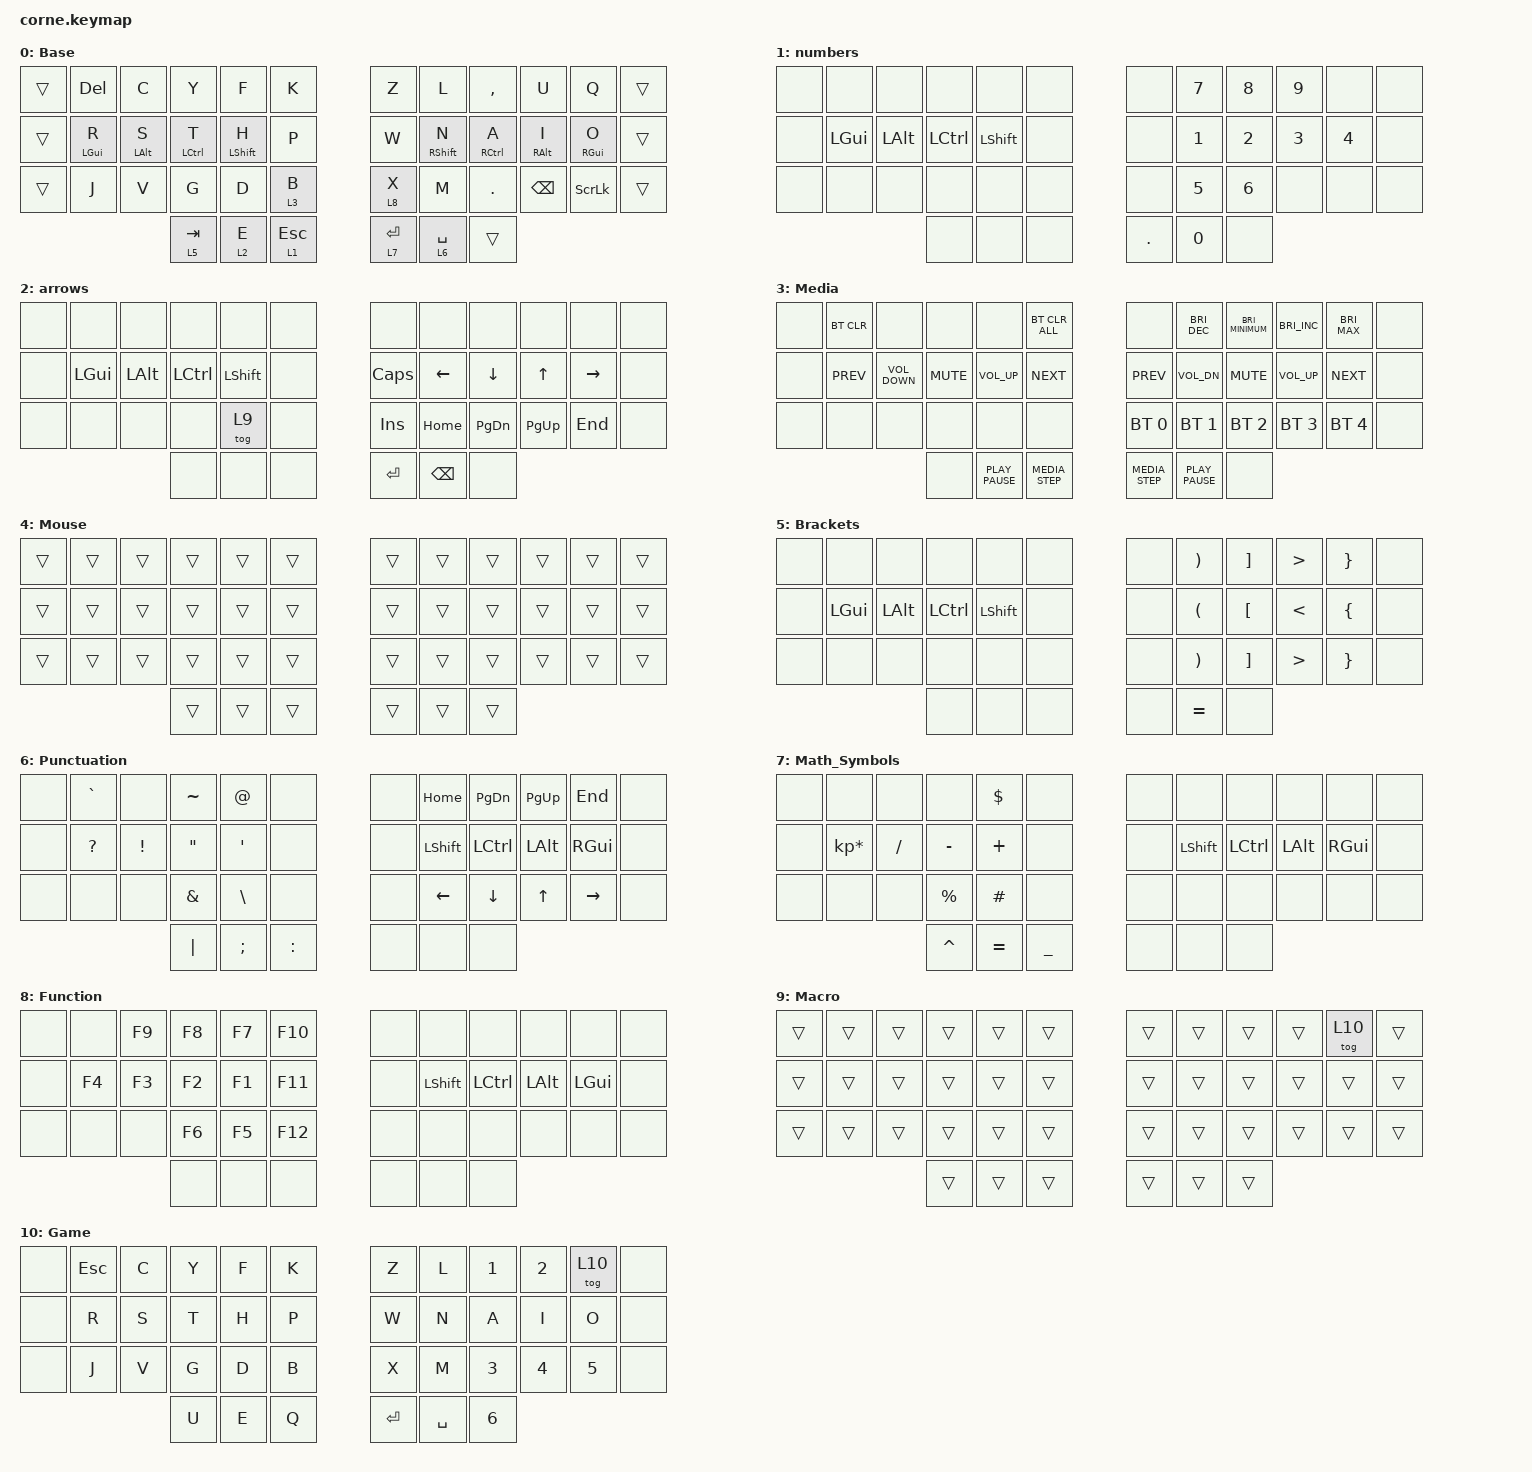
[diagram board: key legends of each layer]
/*
 * Copyright (c) 2020 The ZMK Contributors
 *
 * SPDX-License-Identifier: MIT
 */

#include <behaviors.dtsi>
#include <dt-bindings/zmk/bt.h>
#include <dt-bindings/zmk/keys.h>

/ {
    behaviors {
        left_hold: left_hold {
            compatible = "zmk,behavior-hold-tap";
            label = "LEFT_HOLD";
            bindings = <&kp>, <&kp>;

            #binding-cells = <2>;
            hold-trigger-key-positions = <6 7 8 9 10 11 18 19 20 21 22 23 30 31 32 33 34 35 39 40 41>;
            flavor = "balanced";
            tapping-term-ms = <280>;
            hold-trigger-on-release;
            require-prior-idle-ms = <150>;
            quick-tap-ms = <175>;
        };

        right_hold: right_hold {
            compatible = "zmk,behavior-hold-tap";
            label = "RIGHT_HOLD";
            bindings = <&kp>, <&kp>;

            #binding-cells = <2>;
            flavor = "balanced";
            tapping-term-ms = <280>;
            hold-trigger-on-release;
            hold-trigger-key-positions = <0 1 2 3 4 5 12 13 14 15 16 17 24 25 26 27 28 29 36 37 38>;
            quick-tap-ms = <175>;
            require-prior-idle-ms = <150>;
        };
    };

    keymap {
        compatible = "zmk,keymap";

        Base {
            // -----------------------------------------------------------------------------------------
            // |  TAB |  Q  |  W  |  E  |  R  |  T  |   |  Y  |  U   |  I  |  O  |  P  | BKSP |
            // | CTRL |  A  |  S  |  D  |  F  |  G  |   |  H  |  J   |  K  |  L  |  ;  |  '   |
            // | SHFT |  Z  |  X  |  C  |  V  |  B  |   |  N  |  M   |  ,  |  .  |  /  | ESC  |
            //                    | GUI | LWR | SPC |   | ENT | RSE  | ALT |

            label = "Base";
            bindings = <
&trans  &kp DEL                &kp C                  &kp Y               &kp F               &kp K           &kp Z        &kp L                &kp COMMA            &kp U                    &kp Q                    &trans
&trans  &left_hold LEFT_GUI R  &left_hold LEFT_ALT S  &left_hold LCTRL T  &left_hold LSHFT H  &kp P           &kp W        &right_hold RSHFT N  &right_hold RCTRL A  &right_hold RIGHT_ALT I  &right_hold RIGHT_GUI O  &trans
&trans  &kp J                  &kp V                  &kp G               &kp D               &lt 3 B         &lt 8 X      &kp M                &kp PERIOD           &kp BACKSPACE            &kp SCROLLLOCK           &trans
                                                      &lt 5 TAB           &lt 2 E             &lt 1 ESCAPE    &lt 7 ENTER  &lt 6 SPACE          &trans
            >;
        };

        Numbers {
            // -----------------------------------------------------------------------------------------
            // |  TAB |  1  |  2  |  3  |  4  |  5  |   |  6  |  7  |  8  |  9  |  0  | BKSP |
            // | BTCLR| BT1 | BT2 | BT3 | BT4 | BT5 |   | LFT | DWN |  UP | RGT |     |      |
            // | SHFT |     |     |     |     |     |   |     |     |     |     |     |      |
            //                    | GUI |     | SPC |   | ENT |     | ALT |

            label = "numbers";
            bindings = <
&none  &none         &none         &none      &none      &none    &none    &kp N7  &kp N8  &kp N9  &none   &none
&none  &kp LEFT_GUI  &kp LEFT_ALT  &kp LCTRL  &kp LSHFT  &none    &none    &kp N1  &kp N2  &kp N3  &kp N4  &none
&none  &none         &none         &none      &none      &none    &none    &kp N5  &kp N6  &none   &none   &none
                                   &none      &none      &none    &kp DOT  &kp N0  &none
            >;
        };

        Arrows {
            label = "arrows";
            bindings = <
&none  &none         &none         &none      &none      &none    &none      &none          &none          &none         &none      &none
&none  &kp LEFT_GUI  &kp LEFT_ALT  &kp LCTRL  &kp LSHFT  &none    &kp CAPS   &kp LEFT       &kp DOWN       &kp UP_ARROW  &kp RIGHT  &none
&none  &none         &none         &none      &tog 9     &none    &kp INS    &kp HOME       &kp PAGE_DOWN  &kp PG_UP     &kp END    &none
                                   &none      &none      &none    &kp ENTER  &kp BACKSPACE  &none
            >;
        };

        Media {
            bindings = <
&none  &bt BT_CLR  &none              &none       &none             &bt BT_CLR_ALL      &none             &kp C_BRIGHTNESS_DEC  &kp C_BRIGHTNESS_MINIMUM  &kp C_BRIGHTNESS_INC  &kp C_BRI_MAX  &none
&none  &kp K_PREV  &kp K_VOLUME_DOWN  &kp K_MUTE  &kp K_VOL_UP      &kp K_NEXT          &kp K_PREV        &kp K_VOL_DN          &kp K_MUTE                &kp K_VOL_UP          &kp K_NEXT     &none
&none  &none       &none              &none       &none             &none               &bt BT_SEL 0      &bt BT_SEL 1          &bt BT_SEL 2              &bt BT_SEL 3          &bt BT_SEL 4   &none
                                      &none       &kp K_PLAY_PAUSE  &kp C_MEDIA_STEP    &kp C_MEDIA_STEP  &kp K_PLAY_PAUSE      &none
            >;
        };

        Mouse {
            bindings = <
&trans  &trans  &trans  &trans  &trans  &trans    &trans  &trans  &trans  &trans  &trans  &trans
&trans  &trans  &trans  &trans  &trans  &trans    &trans  &trans  &trans  &trans  &trans  &trans
&trans  &trans  &trans  &trans  &trans  &trans    &trans  &trans  &trans  &trans  &trans  &trans
                        &trans  &trans  &trans    &trans  &trans  &trans
            >;
        };

        Brackets {
            bindings = <
&none  &none     &none     &none      &none      &none    &none  &kp RIGHT_PARENTHESIS  &kp RBKT  &kp GREATER_THAN  &kp RIGHT_BRACE  &none
&none  &kp LGUI  &kp LALT  &kp LCTRL  &kp LSHFT  &none    &none  &kp LEFT_PARENTHESIS   &kp LBKT  &kp LESS_THAN     &kp LEFT_BRACE   &none
&none  &none     &none     &none      &none      &none    &none  &kp RIGHT_PARENTHESIS  &kp RBKT  &kp GREATER_THAN  &kp RIGHT_BRACE  &none
                           &none      &none      &none    &none  &kp EQUAL              &none
            >;
        };

        Punctuation {
            bindings = <
&none  &kp GRAVE     &none            &kp TILDE          &kp AT         &none        &none  &kp HOME   &kp PG_DN  &kp PG_UP  &kp END    &none
&none  &kp QUESTION  &kp EXCLAMATION  &kp DOUBLE_QUOTES  &kp SQT        &none        &none  &kp LSHFT  &kp LCTRL  &kp LALT   &kp RGUI   &none
&none  &none         &none            &kp AMPERSAND      &kp BACKSLASH  &none        &none  &kp LEFT   &kp DOWN   &kp UP     &kp RIGHT  &none
                                      &kp PIPE           &kp SEMI       &kp COLON    &none  &none      &none
            >;
        };

        Math_Symbols {
            bindings = <
&none  &none            &none     &none        &kp DOLLAR  &none             &none  &none      &none      &none     &none     &none
&none  &kp KP_MULTIPLY  &kp FSLH  &kp MINUS    &kp PLUS    &none             &none  &kp LSHFT  &kp LCTRL  &kp LALT  &kp RGUI  &none
&none  &none            &none     &kp PERCENT  &kp POUND   &none             &none  &none      &none      &none     &none     &none
                                  &kp CARET    &kp EQUAL   &kp UNDERSCORE    &none  &none      &none
            >;
        };

        Function {
            bindings = <
&none  &none   &kp F9  &kp F8  &kp F7  &kp F10    &none  &none      &none      &none     &none     &none
&none  &kp F4  &kp F3  &kp F2  &kp F1  &kp F11    &none  &kp LSHFT  &kp LCTRL  &kp LALT  &kp LGUI  &none
&none  &none   &none   &kp F6  &kp F5  &kp F12    &none  &none      &none      &none     &none     &none
                       &none   &none   &none      &none  &none      &none
            >;
        };

        Macro {
            bindings = <
&trans  &trans  &trans  &trans  &trans  &trans    &trans  &trans  &trans  &trans  &tog 10  &trans
&trans  &trans  &trans  &trans  &trans  &trans    &trans  &trans  &trans  &trans  &trans   &trans
&trans  &trans  &trans  &trans  &trans  &trans    &trans  &trans  &trans  &trans  &trans   &trans
                        &trans  &trans  &trans    &trans  &trans  &trans
            >;
        };

        Game {
            bindings = <
&none  &kp ESC  &kp C  &kp Y  &kp F  &kp K    &kp Z    &kp L      &kp N1  &kp N2  &tog 10  &none
&none  &kp R    &kp S  &kp T  &kp H  &kp P    &kp W    &kp N      &kp A   &kp I   &kp O    &none
&none  &kp J    &kp V  &kp G  &kp D  &kp B    &kp X    &kp M      &kp N3  &kp N4  &kp N5   &none
                       &kp U  &kp E  &kp Q    &kp RET  &kp SPACE  &kp N6
            >;
        };
    };
};

&nice_view_spi { cs-gpios = <&pro_micro 0 GPIO_ACTIVE_HIGH>; };
